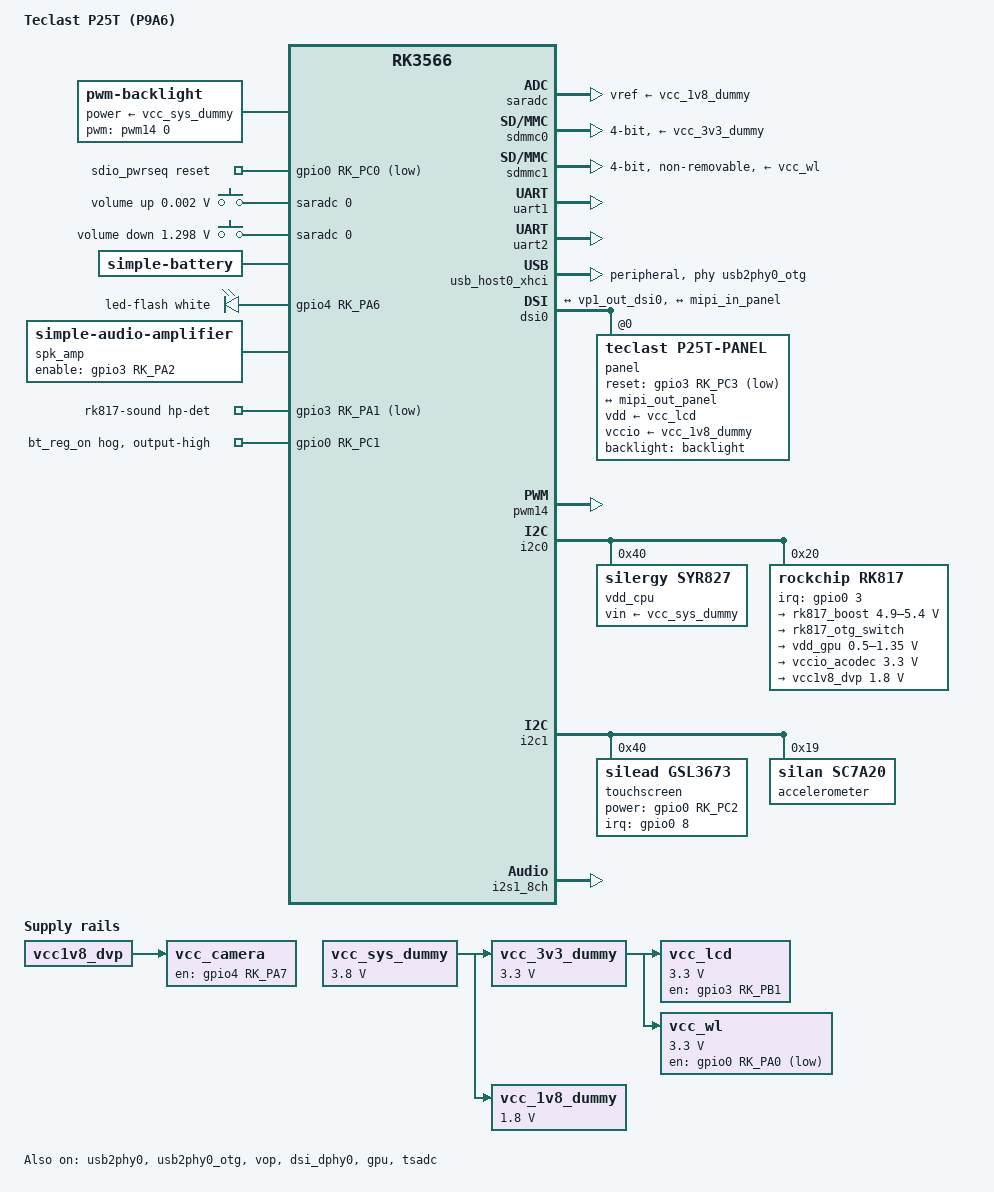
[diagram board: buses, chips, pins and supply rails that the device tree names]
// SPDX-License-Identifier: (GPL-2.0+ OR MIT)
/*
 * Teclast P25T (2023, model code P9A6) - RK3566 tablet.
 *
 * Stage 2 tree: SD card, USB-C (peripheral), ADC keys, display (VOP2 -> DSI0 ->
 * JD9365 panel) and PWM backlight. I2C0 enabled WITHOUT child nodes, only for
 * read-only register dumps of the RK817 PMIC from user space.
 * Deliberately NO PMIC (RK817), NO vdd_cpu regulator (SYR837), NO eMMC:
 * the kernel must not change any voltage or touch Android on the eMMC.
 * All supplies are declared as dummy fixed regulators matching the values the
 * stock bootloader already set up.
 */

/dts-v1/;

#include <dt-bindings/gpio/gpio.h>
#include <dt-bindings/input/input.h>
#include <dt-bindings/leds/common.h>
#include <dt-bindings/pinctrl/rockchip.h>
#include <dt-bindings/soc/rockchip,vop2.h>
#include "rk3566.dtsi"

/ {
	model = "Teclast P25T (P9A6)";
	compatible = "teclast,p25t", "rockchip,rk3566";

	aliases {
		mmc1 = &sdmmc0;
		mmc2 = &sdmmc1;
	};

	chosen {
		stdout-path = "serial2:1500000n8";
	};

	/* Dummy fixed supplies: describe, never switch. */
	vcc_sys_dummy: regulator-vcc-sys-dummy {
		compatible = "regulator-fixed";
		regulator-name = "vcc_sys_dummy";
		regulator-always-on;
		regulator-boot-on;
		regulator-min-microvolt = <3800000>;
		regulator-max-microvolt = <3800000>;
	};

	vcc_3v3_dummy: regulator-vcc-3v3-dummy {
		compatible = "regulator-fixed";
		regulator-name = "vcc_3v3_dummy";
		regulator-always-on;
		regulator-boot-on;
		regulator-min-microvolt = <3300000>;
		regulator-max-microvolt = <3300000>;
		vin-supply = <&vcc_sys_dummy>;
	};

	vcc_1v8_dummy: regulator-vcc-1v8-dummy {
		compatible = "regulator-fixed";
		regulator-name = "vcc_1v8_dummy";
		regulator-always-on;
		regulator-boot-on;
		regulator-min-microvolt = <1800000>;
		regulator-max-microvolt = <1800000>;
		vin-supply = <&vcc_sys_dummy>;
	};

	/* Panel power switch: GPIO3_B1 (stock "enable-gpios", active high). */
	vcc_lcd: regulator-vcc-lcd {
		compatible = "regulator-fixed";
		regulator-name = "vcc_lcd";
		regulator-min-microvolt = <3300000>;
		regulator-max-microvolt = <3300000>;
		gpio = <&gpio3 RK_PB1 GPIO_ACTIVE_HIGH>;
		enable-active-high;
		startup-delay-us = <20000>;
		vin-supply = <&vcc_3v3_dummy>;
	};

	backlight: backlight {
		compatible = "pwm-backlight";
		pwms = <&pwm14 0 25000 0>;
		brightness-levels = <7 255>;
		num-interpolated-steps = <248>;
		default-brightness-level = <120>;
		power-supply = <&vcc_sys_dummy>;
	};

	/*
	 * Wi-Fi/BT module AIC8800 (SDIO on sdmmc1). From the stock DT and the
	 * stock mmc-pwrseq driver: GPIO0_A0 switches the module's supply (low =
	 * on), GPIO0_C0 is WL_REG_ON (high = running). The 32 kHz sleep clock
	 * comes from RK817 CLK32KOUT2, which is already enabled at reset
	 * (reg 0xF2 bit 7 = 1), so no PMIC write is needed.
	 */
	vcc_wl: regulator-vcc-wl {
		compatible = "regulator-fixed";
		regulator-name = "vcc_wl";
		regulator-min-microvolt = <3300000>;
		regulator-max-microvolt = <3300000>;
		gpio = <&gpio0 RK_PA0 GPIO_ACTIVE_LOW>;
		startup-delay-us = <100000>;
		vin-supply = <&vcc_3v3_dummy>;
	};

	sdio_pwrseq: sdio-pwrseq {
		compatible = "mmc-pwrseq-simple";
		reset-gpios = <&gpio0 RK_PC0 GPIO_ACTIVE_LOW>;
		post-power-on-delay-ms = <50>;
		power-off-delay-us = <5000>;
	};

	/* Volume keys on SARADC channel 0 (thresholds from the stock DT). */
	adc-keys {
		compatible = "adc-keys";
		io-channels = <&saradc 0>;
		io-channel-names = "buttons";
		keyup-threshold-microvolt = <1800000>;
		poll-interval = <100>;

		button-vol-up {
			label = "volume up";
			linux,code = <KEY_VOLUMEUP>;
			press-threshold-microvolt = <1750>;
		};

		button-vol-down {
			label = "volume down";
			linux,code = <KEY_VOLUMEDOWN>;
			press-threshold-microvolt = <1297500>;
		};
	};

	/*
	 * Battery data for the RK817 charger, copied from the stock Android
	 * device tree (Firmware/dt/boot-0-0x6c0fe00.dts: design_capacity,
	 * chrg_finish_cur, max_chrg_current, max_chrg_voltage,
	 * zero_algorithm_vol, and the 21-point OCV table), converted to the
	 * generic power-supply/battery.yaml units mainline's rk817_charger
	 * driver expects. Cross-checked for units/shape against a real
	 * mainline board using the same driver (rk3566-pinetab2.dtsi).
	 */
	battery: battery {
		compatible = "simple-battery";
		charge-full-design-microamp-hours = <5300000>;
		charge-term-current-microamp = <200000>;
		constant-charge-current-max-microamp = <2000000>;
		constant-charge-voltage-max-microvolt = <4350000>;
		voltage-max-design-microvolt = <4350000>;
		voltage-min-design-microvolt = <3400000>;

		ocv-capacity-celsius = <20>;
		ocv-capacity-table-0 = <4313000 100>, <4257000 95>, <4199000 90>, <4144000 85>,
				       <4093000 80>, <4035000 75>, <3992000 70>, <3955000 65>,
				       <3915000 60>, <3866000 55>, <3834000 50>, <3804000 45>,
				       <3788000 40>, <3776000 35>, <3765000 30>, <3745000 25>,
				       <3724000 20>, <3677000 15>, <3608000 10>, <3543000 5>,
				       <3400000 0>;
	};

	/*
	 * Analog audio via the RK817 codec (patch 0015). "Analog RK817" name
	 * and mclk-fs=256 (48kHz*256=12.288MHz) copied from the real
	 * rk3566-quartz64-a.dts reference board - same codec, same i2s1_8ch
	 * cpu-side controller. See the pmic@20/rk817 node comment above and
	 * &i2s1_8ch below for the clock/pin details.
	 */
	/*
	 * Rear camera torch (patch 0022). Stock "flash-rgb13h": enable-gpio
	 * GPIO4_A6, active high, no PWM ("Unable to get pwm device" in the
	 * Android log) - a plain on/off LED here:
	 *   echo 1 > /sys/class/leds/white:flash/brightness
	 * Needs vcc1v8_dvp (vccio6) and vcc_camera, both below.
	 */
	leds {
		compatible = "gpio-leds";
		pinctrl-names = "default";
		pinctrl-0 = <&flash_led_en>;

		led-flash {
			color = <LED_COLOR_ID_WHITE>;
			function = LED_FUNCTION_FLASH;
			gpios = <&gpio4 RK_PA6 GPIO_ACTIVE_HIGH>;
			default-state = "off";
		};
	};

	/*
	 * Stock "vcc_camera": fixed regulator switched by GPIO4_A7, always on
	 * in Android. Kept the same here (patch 0022); the cameras will be
	 * its consumers later.
	 */
	vcc_camera: regulator-vcc-camera {
		compatible = "regulator-fixed";
		regulator-name = "vcc_camera";
		gpio = <&gpio4 RK_PA7 GPIO_ACTIVE_HIGH>;
		enable-active-high;
		pinctrl-names = "default";
		pinctrl-0 = <&vcc_camera_en>;
		regulator-always-on;
		regulator-boot-on;
		vin-supply = <&vcc1v8_dvp>;
	};

	/*
	 * Built-in speaker (2026-10-01). Stock: rk817 codec "use-ext-amplifier"
	 * with spk-ctl-gpios = GPIO3_A2 (active high): the codec's headphone
	 * stage feeds an external amplifier whose enable pin is GPIO3_A2; the
	 * internal class-D stage (Playback Mux "SPK") is not used. Confirmed by
	 * tests/test_11.sh: GPIO3_A2 high + Playback Mux "HP" plays on the
	 * speaker. Same pattern as rk3326-gameforce-chi.dts (RK817 + ext amp).
	 */
	spk_amp: audio-amplifier {
		compatible = "simple-audio-amplifier";
		enable-gpios = <&gpio3 RK_PA2 GPIO_ACTIVE_HIGH>;
		pinctrl-names = "default";
		pinctrl-0 = <&spk_amp_enable_h>;
		sound-name-prefix = "Speaker Amp";
	};

	rk817-sound {
		compatible = "simple-audio-card";
		simple-audio-card,name = "Analog RK817";
		simple-audio-card,aux-devs = <&spk_amp>;
		simple-audio-card,format = "i2s";
		/*
		 * Headphone detect: stock rk-headset headset_gpio = GPIO3_A1,
		 * active low, pin pulled down. Measured: 1 unplugged, 0 with
		 * headphones in (gpioget, 2026-10-01). Same pin Android names
		 * "headset_input" in /proc/interrupts.
		 */
		simple-audio-card,hp-det-gpios = <&gpio3 RK_PA1 GPIO_ACTIVE_LOW>;
		pinctrl-names = "default";
		pinctrl-0 = <&hp_det>;
		simple-audio-card,mclk-fs = <256>;
		simple-audio-card,widgets =
			"Headphone", "Headphones",
			"Speaker", "Internal Speakers";
		simple-audio-card,routing =
			"Headphones", "HPOL",
			"Headphones", "HPOR",
			"Speaker Amp INL", "HPOL",
			"Speaker Amp INR", "HPOR",
			"Internal Speakers", "Speaker Amp OUTL",
			"Internal Speakers", "Speaker Amp OUTR";
		/*
		 * The jack switches the "Headphones" pin by itself. The speaker
		 * is not muted by the kernel when headphones go in: a sound
		 * server (PipeWire/PulseAudio) does that from the jack event;
		 * on the console: amixer cset name='Internal Speakers Switch' off
		 */
		simple-audio-card,pin-switches = "Internal Speakers";

		simple-audio-card,cpu {
			sound-dai = <&i2s1_8ch>;
		};

		simple-audio-card,codec {
			sound-dai = <&rk817>;
		};
	};
};

&saradc {
	vref-supply = <&vcc_1v8_dummy>;
	status = "okay";
};

/* microSD slot: stays at 3.3 V signalling (no UHS), like the stock loader left it. */
&sdmmc0 {
	bus-width = <4>;
	cap-sd-highspeed;
	disable-wp;
	no-1-8-v;
	pinctrl-names = "default";
	pinctrl-0 = <&sdmmc0_bus4 &sdmmc0_clk &sdmmc0_cmd &sdmmc0_det>;
	vmmc-supply = <&vcc_3v3_dummy>;
	vqmmc-supply = <&vcc_3v3_dummy>;
	status = "okay";
};

/* SDIO Wi-Fi (AIC8800), 4-bit, 50 MHz like the stock kernel. */
&sdmmc1 {
	bus-width = <4>;
	cap-sd-highspeed;
	cap-sdio-irq;
	keep-power-in-suspend;
	max-frequency = <50000000>;
	mmc-pwrseq = <&sdio_pwrseq>;
	non-removable;
	disable-wp;
	pinctrl-names = "default";
	pinctrl-0 = <&sdmmc1_bus4 &sdmmc1_cmd &sdmmc1_clk>;
	vmmc-supply = <&vcc_wl>;
	status = "okay";
};

/*
 * IO domain vccio4 (SDIO pins) is fed by RK817 LDO1 = 1.8 V (reg 0xCC = 0x30).
 * vccio1 (audio codec IO, patch 0015) added the same way stock has it:
 * fed by RK817 LDO_REG4 (vccio_acodec, 3.3 V) - see pmic@20/regulators.
 */
&pmu_io_domains {
	vccio1-supply = <&vccio_acodec>;
	vccio4-supply = <&vcc_1v8_dummy>;
	vccio6-supply = <&vcc1v8_dvp>;	/* patch 0022: GPIO4 camera/torch pins */
	status = "okay";
};

/*
 * Bluetooth half of the AIC8800: H4 over UART1 (uart1m0 pins, RTS/CTS), 1.5 Mbaud,
 * attached from user space with btattach. BT_REG_ON = GPIO0_C1, high = on
 * (stock rfkill-bt: BT,reset_gpio GPIO0_C1 flags 0, driven high to power on).
 */
&uart1 {
	pinctrl-names = "default";
	pinctrl-0 = <&uart1m0_xfer &uart1m0_ctsn &uart1m0_rtsn>;
	uart-has-rtscts;
	status = "okay";
};

&gpio0 {
	bt-reg-on-hog {
		gpio-hog;
		gpios = <RK_PC1 GPIO_ACTIVE_HIGH>;
		output-high;
		line-name = "bt_reg_on";
	};
};

&uart2 {
	status = "okay";
};

/* USB-C port as a USB device: gives the PC a serial console and network link. */
&usb_host0_xhci {
	dr_mode = "peripheral";
	maximum-speed = "high-speed";
	phys = <&usb2phy0_otg>;
	phy-names = "usb2-phy";
	/*
	 * Same DWC3 quirks as the stock Android device tree. Without
	 * dis-u2-freeclk-exists the controller expects a free-running UTMI
	 * clock while the USB2 PHY is suspended (no cable); it has none, so
	 * enabling ep0 times out ("failed to enable ep0out") and the PC then
	 * gets no answer (-71).
	 */
	snps,dis_enblslpm_quirk;
	snps,dis-u2-freeclk-exists-quirk;
	snps,dis-del-phy-power-chg-quirk;
	snps,dis-tx-ipgap-linecheck-quirk;
	status = "okay";
};

&usb2phy0 {
	status = "okay";
};

&usb2phy0_otg {
	status = "okay";
};

/* ---------------- Clocks ----------------
 * dclk_vop1 cannot change its parent PLL's rate (CLK_SET_RATE_NO_REPARENT, no
 * SET_RATE_PARENT), and our boot path skips the stock U-Boot that used to set up
 * VPLL. Without this VPLL stays in slow mode and the panel gets a 24 MHz pixel
 * clock instead of 67 MHz (seen in clk_summary: dclk_vop1 = 24000000).
 * 1608 MHz / 24 = 67.000 MHz exactly.
 */
&cru {
	assigned-clocks = <&pmucru CLK_RTC_32K>, <&cru PLL_GPLL>,
			  <&pmucru PLL_PPLL>, <&cru PLL_VPLL>;
	assigned-clock-rates = <32768>, <1200000000>,
			       <200000000>, <1608000000>;
};

/* ---------------- Display ---------------- */

&vop {
	assigned-clocks = <&cru DCLK_VOP0>, <&cru DCLK_VOP1>;
	assigned-clock-parents = <&pmucru PLL_HPLL>, <&cru PLL_VPLL>;
	status = "okay";
};

&vop_mmu {
	status = "okay";
};

&vp1 {
	vp1_out_dsi0: endpoint@ROCKCHIP_VOP2_EP_MIPI0 {
		reg = <ROCKCHIP_VOP2_EP_MIPI0>;
		remote-endpoint = <&dsi0_in_vp1>;
	};
};

&dsi_dphy0 {
	status = "okay";
};

&dsi0 {
	#address-cells = <1>;
	#size-cells = <0>;
	status = "okay";

	panel@0 {
		compatible = "teclast,p25t-panel";
		reg = <0>;
		/*
		 * Landscape use (patch 0023): the device is held with the
		 * panel's right edge up. rotation = 90 -> DRM panel orientation
		 * "Right Side Up" -> the console (fbcon, needs
		 * CONFIG_FRAMEBUFFER_CONSOLE_ROTATION) and Wayland compositors
		 * rotate the picture by themselves. The panel still scans out
		 * 800x1280; the touchscreen keeps reporting panel coordinates.
		 */
		rotation = <90>;
		backlight = <&backlight>;
		reset-gpios = <&gpio3 RK_PC3 GPIO_ACTIVE_LOW>;
		vdd-supply = <&vcc_lcd>;
		vccio-supply = <&vcc_1v8_dummy>;
		width-mm = <135>;
		height-mm = <216>;

		/*
		 * Patch 0025: the timing as a DT node, read by the jadard driver
		 * (patch 0024) instead of its built-in mode; it can be tuned on
		 * the tablet with fdtput (tests/tune_panel.sh). Stock values
		 * except the horizontal porches: with the stock hfp 18 / hbp 18
		 * each line showed 3 px late (the line end wrapped to the next
		 * line start) and rows near the frame top flickered
		 * (tests/test_18.sh); hfp 21 / hbp 15 sends the data 3 px
		 * earlier, same line length (confirmed 2026-10-02). No polarity
		 * properties: the default (positive) is right here, the stock
		 * negative ones rotate the colour channels.
		 */
		panel-timing {
			clock-frequency = <67000000>;
			hactive = <800>;
			vactive = <1280>;
			hfront-porch = <21>;
			hsync-len = <18>;
			hback-porch = <15>;
			vfront-porch = <12>;
			vsync-len = <4>;
			vback-porch = <8>;
		};

		port {
			mipi_in_panel: endpoint {
				remote-endpoint = <&mipi_out_panel>;
			};
		};
	};

	ports {
		dsi0_in: port@0 {
			reg = <0>;
			dsi0_in_vp1: endpoint {
				remote-endpoint = <&vp1_out_dsi0>;
			};
		};

		dsi0_out: port@1 {
			reg = <1>;
			mipi_out_panel: endpoint {
				remote-endpoint = <&mipi_in_panel>;
			};
		};
	};
};

&pwm14 {
	status = "okay";
};

/*
 * I2C0: RK817 PMIC @0x20 (BOOST/OTG_SWITCH regulators + charger/battery,
 * patches 0008-0009; DCDC_REG2/vdd_gpu, patch 0014; audio codec +
 * vccio_acodec, patch 0015) and SYR837 @0x40 (vdd_cpu, patch 0011). The
 * RK817 node itself stays deliberately minimal beyond that (no pwrkey
 * node - came up for free once the chip had any node at all). Values
 * copied verbatim from the stock Android
 * device tree (Firmware/dt/boot-0-0x6c0fe00.dts):
 *   - BOOST: regulator-always-on there too - stock never turns this rail
 *     off, we are not switching on anything stock treats as off.
 *   - OTG_SWITCH: stock leaves it switchable (its own USB HAL enables it
 *     only in host role via an extcon we never wired up). We only ever
 *     enable it through &usb2phy0_otg's phy-supply in the host-mode DTB
 *     variant (see rk3566-teclast-p25t-usbhost.dts) - the normal DTB
 *     never references it, so it stays unused/off there, same as today.
 *   - DCDC_REG2/vdd_gpu: stock has both regulator-always-on AND
 *     regulator-boot-on on this one (unlike BOOST) - mirrored exactly.
 */
&i2c0 {
	status = "okay";

	/*
	 * Real vdd_cpu chip on this board, confirmed from the stock DT (which
	 * lists four alternative vdd_cpu parts - generic Rockchip SDK board
	 * file - only this one is actually populated here). Values copied
	 * verbatim from the stock DT's syr837@40 node (min/max/ramp-delay,
	 * fcs,suspend-voltage-selector, always-on); the stock DT's own
	 * regulator-init-microvolt/regulator-initial-state are Rockchip
	 * BSP-only properties with no mainline binding, so they are not
	 * carried over - just reporting the chip's existing state on probe,
	 * never forcing a voltage. vin-supply matches stock's vcc3v8_sys via
	 * our existing vcc_sys_dummy. Feeds &cpu0..&cpu3's cpu-supply below,
	 * for real DVFS on top of the cpufreq-dt scaling already active from
	 * rk3566.dtsi's cpu0_opp_table. See kernel.org/hardware.org.
	 */
	vdd_cpu: regulator@40 {
		compatible = "silergy,syr827";
		reg = <0x40>;
		vin-supply = <&vcc_sys_dummy>;
		regulator-name = "vdd_cpu";
		regulator-min-microvolt = <712500>;
		regulator-max-microvolt = <1500000>;
		regulator-ramp-delay = <1000>;
		fcs,suspend-voltage-selector = <1>;
		regulator-always-on;

		regulator-state-mem {
			regulator-off-in-suspend;
		};
	};

	rk817: pmic@20 {
		compatible = "rockchip,rk817";
		reg = <0x20>;
		interrupt-parent = <&gpio0>;
		interrupts = <3 8>; /* GPIO0_A3, IRQ_TYPE_LEVEL_LOW - matches stock */

		/*
		 * Audio codec (patch 0015). Mainline's rk817_codec.c has no
		 * separate DT subnode - #sound-dai-cells/clocks live directly on
		 * this node, matching sound/soc/codecs/rk817_codec.c's
		 * devm_clk_get(dev.parent, "mclk") and the rockchip,rk817.yaml
		 * binding's own top-level example. Stock's codec{} subnode
		 * (clocks=<&cru 0x1a3>, pinctrl-0, hp-volume/spk-volume/
		 * capture-volume/use-ext-amplifier/spk-ctl-gpios) is Rockchip
		 * BSP-only: rockchip,rk817.yaml's codec: schema only recognises
		 * rockchip,mic-in-differential, and clock ID 0x1a3=419 has no
		 * matching macro anywhere in mainline's rk3568-cru.h (only an
		 * unrelated reset macro shares that number) - it doesn't exist
		 * as a distinct clock in mainline's clk-rk3568.c at all, so it
		 * cannot be carried over. Values below copied instead from a
		 * real, working mainline board with the same chip combo
		 * (arch/arm64/boot/dts/rockchip/rk3566-quartz64-a.dts), and
		 * cross-checked against Documentation/devicetree/bindings/sound/
		 * rockchip,i2s-tdm.yaml's own worked example, which uses the
		 * identical &i2s1_8ch + i2s1m0 + trcm-sync-tx-only combination.
		 *
		 * spk-ctl-gpios: mainline rk817_codec has no such property. The
		 * pin it names (GPIO3_A2) is the external speaker amplifier's
		 * enable - see spk_amp at the top of this file (2026-10-01;
		 * patch 0013 had wrongly taken it for the accelerometer IRQ).
		 */
		assigned-clocks = <&cru I2S1_MCLKOUT_TX>;
		assigned-clock-parents = <&cru CLK_I2S1_8CH_TX>;
		clocks = <&cru I2S1_MCLKOUT_TX>;
		clock-names = "mclk";
		pinctrl-names = "default";
		pinctrl-0 = <&i2s1m0_mclk>;
		#sound-dai-cells = <0>;

		regulators {
			rk817_boost: BOOST {
				regulator-name = "boost";
				regulator-min-microvolt = <4900000>;
				regulator-max-microvolt = <5400000>;
				/*
				 * Left unconstrained on purpose (matches the stock DT,
				 * which has no always-on flag either): nothing in the
				 * normal/peripheral DTB consumes this rail, so Linux
				 * disables it at late boot. The host-mode DTB overrides
				 * this node back to always-on/boot-on, since OTG_SWITCH's
				 * phy-supply link needs it live. See hardware.org/todo.org.
				 */
			};

			rk817_otg_switch: OTG_SWITCH {
				regulator-name = "otg_switch";
			};

			/*
			 * GPU rail. Values copied verbatim from the stock DT's own
			 * DCDC_REG2 (regulator-name is "vdd_gpu" there too, confirming
			 * this is the right rail). Stock's regulator-init-microvolt
			 * (900000) and regulator-initial-mode (2) are Rockchip
			 * BSP-only properties with no mainline binding (checked
			 * against /schemas/regulator/regulator.yaml, which is all
			 * rockchip,rk817.yaml references for this node) - dropped,
			 * same treatment as vdd_cpu's equivalent stock properties.
			 * Feeds &gpu's mali-supply below, for Panfrost GPU DVFS on
			 * top of rk3568.dtsi's existing gpu_opp_table. See
			 * kernel.org/hardware.org.
			 */
			vdd_gpu: DCDC_REG2 {
				regulator-name = "vdd_gpu";
				regulator-min-microvolt = <500000>;
				regulator-max-microvolt = <1350000>;
				regulator-ramp-delay = <6001>;
				regulator-always-on;
				regulator-boot-on;

				regulator-state-mem {
					regulator-off-in-suspend;
				};
			};

			/*
			 * Audio codec IO/analog supply (patch 0015). Stock's own
			 * LDO_REG4 is named "vccio_acodec" and is the vccio1-supply
			 * for &pmu_io_domains below - same always-on/boot-on
			 * treatment as stock, no BSP-only properties on this one.
			 */
			vccio_acodec: LDO_REG4 {
				regulator-name = "vccio_acodec";
				regulator-min-microvolt = <3300000>;
				regulator-max-microvolt = <3300000>;
				regulator-always-on;
				regulator-boot-on;

				regulator-state-mem {
					regulator-off-in-suspend;
				};
			};

			/*
			 * Camera-side IO bank supply (patch 0022). Stock LDO_REG8
			 * "vcc1v8_dvp", values verbatim: 1.8 V, always-on. It is
			 * the vccio6-supply of &pmu_io_domains: without it the
			 * GPIO4 pins of the torch, vcc_camera and the camera
			 * sensors cannot drive anything. Confirmed by hand with
			 * tests/test_13.sh (LDO8 on -> torch lights).
			 */
			vcc1v8_dvp: LDO_REG8 {
				regulator-name = "vcc1v8_dvp";
				regulator-min-microvolt = <1800000>;
				regulator-max-microvolt = <1800000>;
				regulator-always-on;
				regulator-boot-on;

				regulator-state-mem {
					regulator-off-in-suspend;
				};
			};
		};

		charger {
			monitored-battery = <&battery>;
			rockchip,resistor-sense-micro-ohms = <10000>;
			rockchip,sleep-enter-current-microamp = <150000>;
			rockchip,sleep-filter-current-microamp = <100000>;
		};
	};
};

/*
 * Real DVFS: cpu0_opp_table (rk3566.dtsi) already lists a min/target/max
 * microvolt triplet per frequency step; without a cpu-supply the OPP core
 * still lets cpufreq-dt scale frequency (already confirmed active), but
 * never touches voltage. Wiring vdd_cpu here lets it scale both.
 */
&cpu0 {
	cpu-supply = <&vdd_cpu>;
};

&cpu1 {
	cpu-supply = <&vdd_cpu>;
};

&cpu2 {
	cpu-supply = <&vdd_cpu>;
};

&cpu3 {
	cpu-supply = <&vdd_cpu>;
};

/*
 * I2C1: the stock DT lists TWO alternative accelerometers here, both
 * marked status="okay" unlike vdd_cpu's four alternatives on i2c0 (only
 * one of which was real) - so Android probes both and whichever chip
 * actually answers wins. Patch 0012 enabled the bus with no child node
 * and confirmed on hardware (tests/test_02.sh, see kernel.org) which one
 * is really here:
 *   - sensor@19  "gs_sc7a20"  0x19 - PRESENT. WHOAMI (reg 0x0f) reads
 *     back 0x11, which does not match the generic ST LIS3DH/LIS2DH12
 *     family (0x33) - but mainline already carries a dedicated entry
 *     for this exact clone: drivers/iio/accel/st_accel_i2c.c's
 *     "silan,sc7a20" compatible -> st_accel_core.c's SC7A20_ACCEL_DEV_NAME
 *     sensor_settings, wai = 0x11 (comment there: "Not an ST part.
 *     Register-compatible with the LIS2DH, even though the WAI value is
 *     different."). No new driver needed.
 *   - sensorda@27 "gs_da223"  0x27 - NOT present (no ACK). Moot now, but
 *     for the record: no mainline driver exists for this chip at all.
 * i2c1 also feeds the touchscreen (Silead GSL3673 @0x40) - see below.
 */
&i2c1 {
	status = "okay";

	/*
	 * Touchscreen (Silead GSL3673, 2026-09-28). Not in mainline silead.c's
	 * of_match_table (only gsl1680/1688/3670/3675/3692 are listed) - the
	 * whole register protocol is identical across that family though
	 * (checked directly in the driver source, no per-chip branching), so
	 * this uses the documented two-string DT fallback: our real chip name
	 * first (informational), a listed sibling second so the driver binds.
	 * Same technique already used for the SC7A20 accelerometer above.
	 *
	 * Firmware: the vendor driver is compiled into the stock kernel with
	 * its firmware table as C data. tools/gsl_fw_from_stock_kernel.py
	 * extracts the table that belongs to "GSL,GSL3673_800X1280" (the
	 * compatible in the stock DT) from the stock kernel Image; it is
	 * built into our kernel as silead/gsl3673-p25t.fw (CONFIG_EXTRA_FIRMWARE,
	 * patch 0020), because this driver is built in and probes before the
	 * root filesystem is mounted. Tested working 2026-09-30.
	 * (A GSL3673 table taken earlier from an unrelated product's GPL
	 * source uploaded fine but never started - status 0xB0 stayed 0.)
	 *
	 * Pins from the stock DT (irq_gpio_number / rst_gpio_number), all
	 * confirmed on hardware 2026-09-30: IRQ GPIO0_B0 level-low; GPIO0_C2
	 * active-high (driving it low holds the chip in reset: tried, the ID
	 * read then fails). No supply needed beyond what is on at boot:
	 * works with RK817 LDO9 off.
	 *
	 * Coordinates: the chip reports in its own space, raw x along the long
	 * axis ~0..1660, raw y along the short axis ~0..880 (tests/test_09.py,
	 * two runs, largest values seen 1658/881). size-x/-y describe these
	 * RAW axes and leave a small margin: touchscreen_apply_prop_to_x_y()
	 * inverts with unsigned "max - x", so a raw value above the declared
	 * maximum would wrap around instead of clamping. Mounting: raw x runs
	 * bottom->top and raw y right->left (portrait, console text upright),
	 * so both are inverted, then swapped (the kernel swaps last).
	 */
	touchscreen@40 {
		compatible = "silead,gsl3673", "silead,gsl3670";
		reg = <0x40>;
		interrupt-parent = <&gpio0>;
		interrupts = <8 IRQ_TYPE_LEVEL_LOW>; /* GPIO0_B0 */
		power-gpios = <&gpio0 RK_PC2 GPIO_ACTIVE_HIGH>; /* GPIO0_C2 */
		firmware-name = "gsl3673-p25t.fw";
		touchscreen-size-x = <1680>;	/* raw x max seen 1658 */
		touchscreen-size-y = <896>;	/* raw y max seen 881 */
		touchscreen-inverted-x;
		touchscreen-inverted-y;
		touchscreen-swapped-x-y;
	};

	/*
	 * IRQ (superseded 2026-10-01, interrupt removed - see the node below):
	 * stock DT's irq-gpio = <0x3e 0x02 0x08> (0x3e is gpio@fe760000,
	 * i.e. gpio3) decodes to GPIO3_A2 (bank 3, pin 2), flags 0x08 =
	 * IRQ_TYPE_LEVEL_LOW - same
	 * raw-cells style already used for RK817's interrupt above (bank's
	 * own interrupt-cells = <2>: pin-in-bank, IRQ_TYPE_* flag).
	 *
	 * mount-matrix: stock DT has no such property - it instead carries
	 * Android-specific boolean flags (swap_xy=1, revert_x=0, revert_y=1,
	 * revert_z=0) consumed by a closed-source sensor HAL/driver we don't
	 * have access to, not any documented mainline binding. The matrix
	 * below is our best-effort translation, assuming the common
	 * "swap first, then negate" convention:
	 *   swapped = swap_xy ? (rawY, rawX) : (rawX, rawY)
	 *   out     = (revert_x ? -swapped.x : swapped.x,
	 *              revert_y ? -swapped.y : swapped.y,
	 *              revert_z ? -swapped.z : swapped.z)
	 * which with these flags gives out = (rawY, -rawX, rawZ), i.e. the
	 * matrix below. NOT verified against the real Android driver source
	 * (proprietary, unavailable) - only against the four flag values
	 * themselves. Treat screen-rotation/orientation behaviour as
	 * unconfirmed until checked against real tilt tests; see
	 * hardware.org/todo.org.
	 */
	accelerometer@19 {
		compatible = "silan,sc7a20";
		reg = <0x19>;
		/*
		 * No interrupt: GPIO3_A2 is the speaker amplifier enable (see
		 * spk_amp). Stock polls this sensor (irq_enable = <0>); as an
		 * IRQ the pin fired 100000 times at boot ("irq 61: nobody
		 * cared", tests/result_11_speaker2.txt). Polled sysfs reads work.
		 */
		mount-matrix = "0", "1", "0",
				"-1", "0", "0",
				"0", "0", "1";
	};
};

/*
 * GPU (Panfrost/Mali Bifrost). Disabled by default in rk356x-base.dtsi;
 * rk3568.dtsi already wires operating-points-v2 = <&gpu_opp_table> onto
 * &gpu (200-800 MHz, no changes needed there). We only need to turn it on
 * and wire the real rail - mali-supply is the property name the mainline
 * binding (Documentation/devicetree/bindings/gpu/arm,mali-bifrost.yaml,
 * matching our exact compatible "rockchip,rk3568-mali") expects, and
 * stock's own GPU node uses the same property name for the same purpose.
 */
&gpu {
	status = "okay";
	mali-supply = <&vdd_gpu>;
};

/*
 * I2S1 (patch 0015): cpu side of the RK817 audio codec (see rk817-sound
 * and pmic@20/rk817 above). Already fully wired in rk356x-base.dtsi
 * (clocks, DMA, resets) - just disabled by default, same shape as &gpu
 * was. pinctrl-0 (single data line each way) + rockchip,trcm-sync-tx-only
 * copied verbatim from Documentation/devicetree/bindings/sound/
 * rockchip,i2s-tdm.yaml's own worked example and from the real
 * rk3566-quartz64-a.dts reference board, which uses this exact
 * controller+codec combination.
 */
&i2s1_8ch {
	pinctrl-names = "default";
	pinctrl-0 = <&i2s1m0_sclktx &i2s1m0_lrcktx &i2s1m0_sdi0 &i2s1m0_sdo0>;
	rockchip,trcm-sync-tx-only;
	status = "okay";
};

/*
 * SoC thermal sensor (patch 0016). Disabled by default in
 * rk356x-base.dtsi, same shape as &gpu/&i2s1_8ch above - but here the
 * thermal-zones node (cpu_thermal using <&tsadc 0>, a gpu thermal zone
 * using <&tsadc 1>, both with trip points) already exists too, so
 * nothing else needs wiring. hw-tshut-mode/polarity copied verbatim
 * from two independent real reference boards that agree on the same
 * values for this exact SoC - rk3566-quartz64-a.dts and
 * rk3568-qnap-tsx33.dtsi - this is SoC-internal thermal-shutdown
 * wiring, not board-schematic dependent like the RK817 audio pins
 * were, so no board-specific verification needed. No RK817/kernel
 * .config changes required (CONFIG_ROCKCHIP_THERMAL and
 * CONFIG_THERMAL_HWMON are already enabled) - DTB-only change.
 */
&tsadc {
	rockchip,hw-tshut-mode = <1>; /* tshut via GPIO, not CRU */
	rockchip,hw-tshut-polarity = <0>; /* GPIO active-low */
	status = "okay";
};

&pinctrl {
	camera {
		flash_led_en: flash-led-en {
			rockchip,pins = <4 RK_PA6 RK_FUNC_GPIO &pcfg_pull_none>;
		};

		vcc_camera_en: vcc-camera-en {
			rockchip,pins = <4 RK_PA7 RK_FUNC_GPIO &pcfg_pull_none>;
		};
	};

	headphone {
		hp_det: hp-det {
			rockchip,pins = <3 RK_PA1 RK_FUNC_GPIO &pcfg_pull_down>;
		};
	};

	audio-amplifier {
		spk_amp_enable_h: spk-amp-enable-h {
			rockchip,pins = <3 RK_PA2 RK_FUNC_GPIO &pcfg_pull_none>;
		};
	};
};
